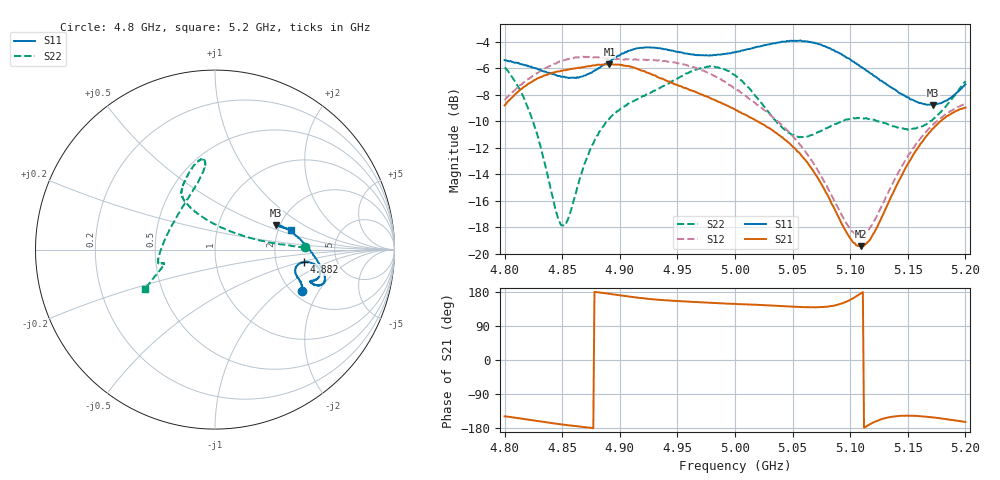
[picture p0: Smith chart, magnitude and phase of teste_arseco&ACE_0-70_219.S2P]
! Network Analyzer HP8722D
! Hewlett-Packard
! Data name: Linha & Wilkinson
! Saver's name: Rodrigo Anjos
! Comments: Teste da utilização de aquisição
! continua pelo VNA HP8722D
! Time and date: 8/5/2025 14:35
!  Frequency  S11  S21  S12  S22
# HZ  S  MA R 50
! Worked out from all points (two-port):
!   401 points, 4.8 GHz to 5.2 GHz, reference 50 ohm
!   highest |S21| = -5.71 dB at 4.891 GHz (marker M1); lowest = -19.4 dB at 5.109 GHz (marker M2)
!   |S21| within 3 dB of the highest: 4.801 GHz to 4.99 GHz (189.1 MHz wide, 3.86 % of centre)
!   lowest |S11| = -8.8 dB at 5.172 GHz (marker M3), VSWR 2.15, Z = 94.8 + j29.8 ohm
!   |S11| at or under -10 dB: nowhere
!   |S22| runs from -17.9 to -5.9 dB; largest |S21 - S12| = 1.1
!   S11 on the Smith chart (normalised r, x): 4.8 GHz: 2.24, -1.45; 4.882 GHz: 2.91, -0.54; 5.2 GHz: 2.33, +0.64
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4.8e9  0.5374 -25.4  0.3625 -148.6  0.3801 11.0  0.5023 1.7
4.812e9  0.5252 -22.3  0.4096 -153.5  0.4258 9.1  0.4247 2.8
4.823e9  0.5081 -20.5  0.4439 -158.5  0.4631 7.5  0.3301 6.1
4.849e9  0.4652 -16.2  0.4903 -169.7  0.5327 3.2  0.1281 58.1
4.855e9  0.4616 -14.5  0.4947 -172.1  0.5428 2.4  0.1346 84.7
4.867e9  0.4657 -10.9  0.5053 -176.4  0.5511 0.8  0.2021 112.8
4.882e9  0.5023 -7.9  0.5168 178.4  0.5505 -0.5  0.2879 120.9
4.891e9  0.5319 -7.7  0.5183 174.6  0.5455 -0.6  0.3237 122.1
4.913e9  0.5921 -10.9  0.5029 165.5  0.5409 -0.2  0.3789 119.1
4.934e9  0.596 -15.4  0.4612 158.7  0.5375 -1.2  0.4201 113.2
4.975e9  0.5604 -18.4  0.3928 151.4  0.4853 -4.9  0.506 99.6
5e9  0.5754 -19.3  0.3497 148.1  0.4212 -5.0  0.4723 97.0
5.018e9  0.6018 -19.1  0.3181 145.9  0.369 -2.5  0.392 103.5
5.044e9  0.6311 -17.5  0.2679 141.7  0.2953 3.1  0.2907 131.5
5.067e9  0.6264 -13.2  0.2081 139.1  0.2231 9.5  0.2805 164.6
5.099e9  0.5449 -2.4  0.1159 157.0  0.1256 38.6  0.3219 -170.3
5.109e9  0.5073 2.2  0.1066 175.3  0.1173 58.3  0.3241 -167.3
5.119e9  0.4761 7.4  0.1165 -166.5  0.1283 77.8  0.3206 -165.9
5.134e9  0.4277 14.3  0.1582 -150.8  0.1735 94.7  0.3061 -165.5
5.152e9  0.3823 20.7  0.2252 -147.0  0.2394 101.6  0.2942 -164.4
5.172e9  0.3642 22.0  0.2965 -151.5  0.3073 102.8  0.3216 -160.3
5.2e9  0.4357 14.8  0.3554 -163.5  0.3674 103.1  0.4481 -150.5
